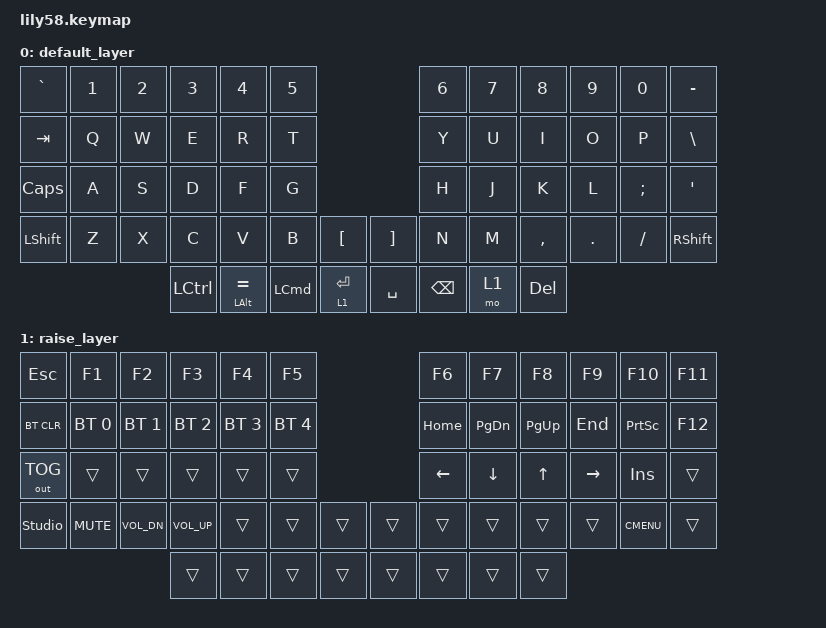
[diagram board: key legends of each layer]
/*
 * Copyright (c) 2020 The ZMK Contributors
 *
 * SPDX-License-Identifier: MIT
 */

/*
 * NOTE: THIS KEYMAP DOES NOT SHOW THE CONFIGURED LAYOUT -- THE ACTUAL LILY58 KEYMAP IS CONFIGURED IN ZMK STUDIO *
 */

#include <behaviors.dtsi>
#include <dt-bindings/zmk/keys.h>
#include <dt-bindings/zmk/bt.h>
#include <dt-bindings/zmk/outputs.h>


/ {
    combos {
        compatible = "zmk,combos";
        combo_esc {
            timeout-ms = <50>;
            key-positions = <0 1>;
            bindings = <&kp ESC>;
        };

        combo_voldn {
            timeout-ms = <50>;
            key-positions = <26 38>;
            bindings = <&kp C_VOL_DN>;
        };

        combo_volup {
            timeout-ms = <50>;
            key-positions = <27 39>;
            bindings = <&kp C_VOL_UP>;
        };

        combo_prev_ws {
            timeout-ms = <50>;
            key-positions = <28 40>;
            bindings = <&kp LC(LEFT)>;
        };

        combo_next_ws {
            timeout-ms = <50>;
            key-positions = <29 41>;
            bindings = <&kp LC(RIGHT)>;
        };
    };

  keymap {
    compatible = "zmk,keymap";

    default_layer {
// ------------------------------------------------------------------------------------------------------------
// |  `    |  1  |  2  |  3   |  4   |  5   |                   |  6   |  7    |  8    |  9   |   0   |   -   |
// |  TAB  |  Q  |  W  |  E   |  R   |  T   |                   |  Y   |  U    |  I    |  O   |   P   |   \   |
// |  CAPS |  A  |  S  |  D   |  F   |  G   |                   |  H   |  J    |  K    |  L   |   ;   |   '   |
// | SHIFT |  Z  |  X  |  C   |  V   |  B   |   [    |  |  ]    |  N   |  M    |  ,    |  .   |   /   | SHIFT |
//                     | ctrl | =    | cmd  | ENTER  |  | SPACE | BSPC | RAISE | DEL   |
//               hold: |(ctrl)| (alt)|(cmd) |        |  |       |      |       |       |
      bindings = <
&kp GRAVE       &kp N1    &kp N2    &kp N3     &kp N4        &kp N5                                     &kp N6     &kp N7     &kp N8      &kp N9    &kp N0    &kp MINUS
&kp TAB         &kp Q     &kp W     &kp E      &kp R         &kp T                                      &kp Y      &kp U      &kp I       &kp O     &kp P     &kp BSLH
&kp CAPSLOCK    &kp A     &kp S     &kp D      &kp F         &kp G                                      &kp H      &kp J      &kp K       &kp L     &kp SEMI  &kp SQT
&kp LSHFT       &kp Z     &kp X     &kp C      &kp V         &kp B            &kp LBKT       &kp RBKT   &kp N      &kp M      &kp COMMA   &kp DOT   &kp FSLH  &kp RSHFT
                                &kp LCTRL    &mt LALT EQUAL  &kp LEFT_COMMAND &lt 1 RET      &kp SPACE  &kp BSPC   &mo 1      &kp DELETE
      >;
    };

    raise_layer {
// --------------------------------------------------------------------------------------------------------------
// |  ESC  |  F1 |  F2 |  F3  |  F4  |  F5  |                   |   F6 |  F7   |  F8   |  F9    |  F10  |  F11  |
// | BTCLR | BT1 | BT2 |  BT3 |  BT4 |  BT5 |                   | home |  pg dn| pf up |  end   | PSCRN |  F12  |
// |OUT_TOG|     |     |      |      |      |                   |  <-  |   v   |  ^    |  ->    | INSERT|       |
// | studio|mute |V dn |V up  |      |      |                   |      |       |       |        | MENU  |       |
//                     |      |      |      |        |  |       |      |       |       |
      bindings = <
&kp ESC        &kp F1         &kp F2            &kp F3        &kp F4       &kp F5                             &kp F6       &kp F7        &kp F8        &kp F9        &kp F10     &kp F11
&bt BT_CLR     &bt BT_SEL 0   &bt BT_SEL 1      &bt BT_SEL 2  &bt BT_SEL 3 &bt BT_SEL 4                       &kp HOME     &kp PG_DN     &kp PG_UP     &kp END       &kp PSCRN   &kp F12
&out OUT_TOG   &trans         &trans            &trans        &trans       &trans                             &kp LEFT     &kp DOWN      &kp UP        &kp RIGHT     &kp INSERT  &trans
&studio_unlock &kp C_MUTE     &kp C_VOL_DN      &kp C_VOL_UP  &trans       &trans      &trans       &trans    &trans       &trans        &trans        &trans        &kp K_CMENU &trans
                                                &trans        &trans       &trans      &trans       &trans    &trans       &trans        &trans
      >;
    };

    extra1 {
        status = "reserved";
    };

    extra2 {
        status = "reserved";
    };
  };
};
